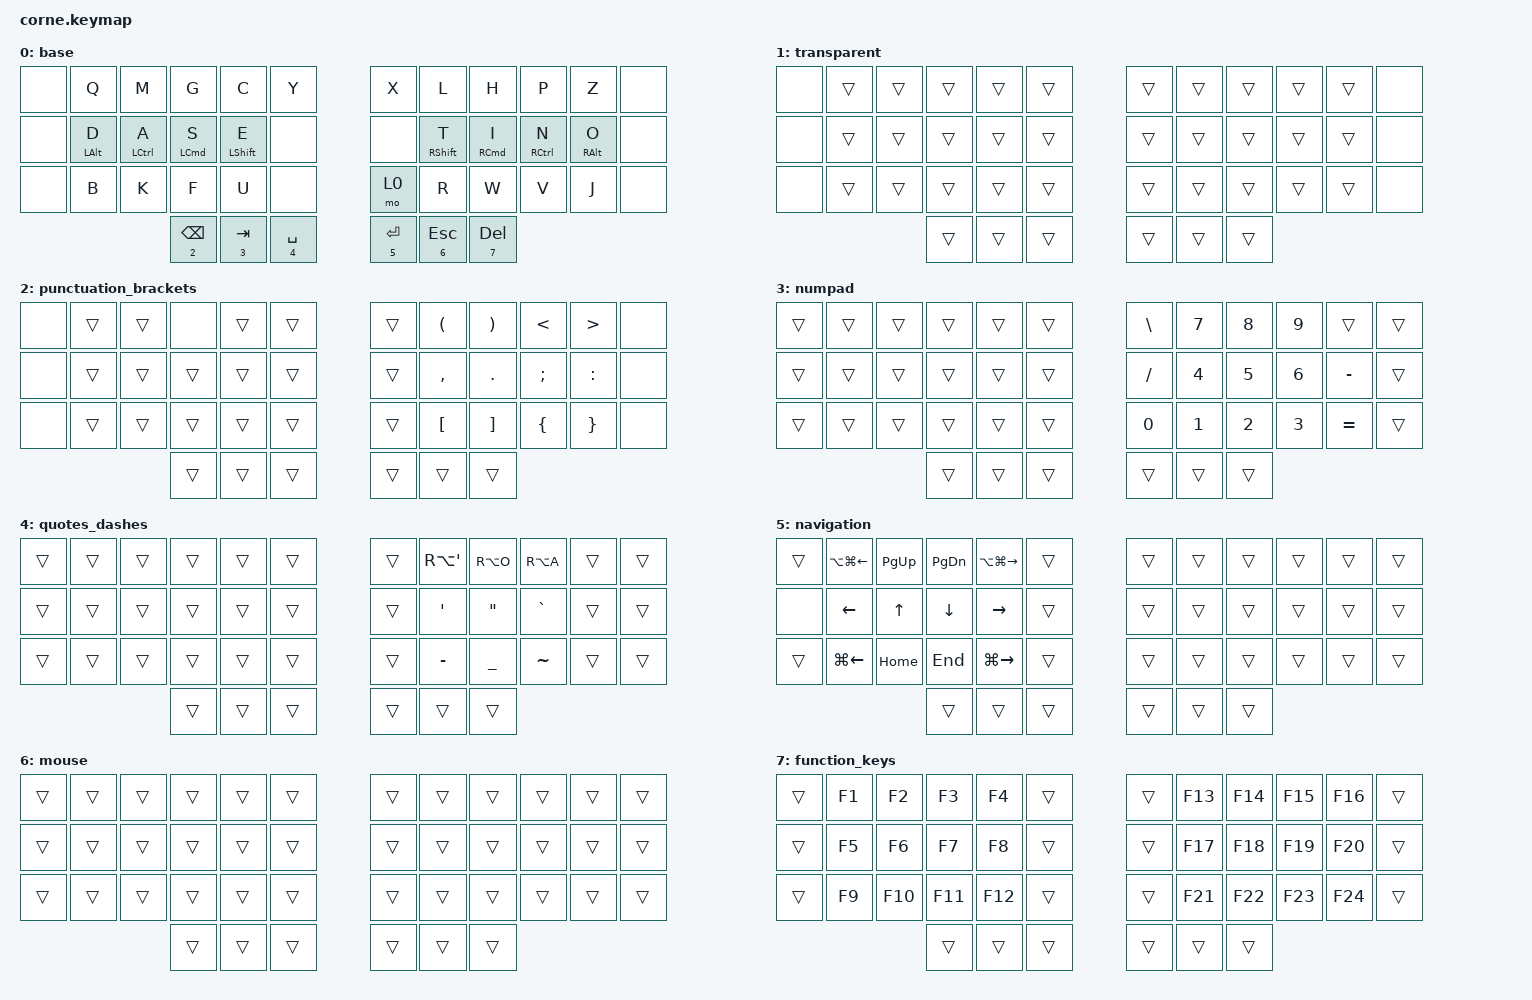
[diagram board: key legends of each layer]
/*
 * Copyright (c) 2020 The ZMK Contributors
 *
 * SPDX-License-Identifier: MIT
 */

#include <behaviors.dtsi>
#include <dt-bindings/zmk/keys.h>

/ {
    behaviors {
        lt_kp: lt_kp {
            compatible = "zmk,behavior-hold-tap";
            label = "LT_KP";
            bindings =
                <&lt>,
                <&kp>;

            #binding-cells = <2>;
            flavor = "balanced";
            tapping-term-ms = <200>;
        };
    };

    combos {
        compatible = "zmk,combos";

        new_combo {
            bindings = <&lt 1 0>;
            key-positions = <36 41>;
        };
    };

    keymap {
        compatible = "zmk,keymap";

        base {
            // -----------------------------------------------------------------------------------------
            // |  TAB |  Q  |  W  |  E  |  R  |  T  |   |  Y  |  U   |  I  |  O  |  P  | BKSP |
            // | CTRL |  A  |  S  |  D  |  F  |  G  |   |  H  |  J   |  K  |  L  |  ;  |  '   |
            // | SHFT |  Z  |  X  |  C  |  V  |  B  |   |  N  |  M   |  ,  |  .  |  /  | ESC  |
            //                    | GUI | LWR | SPC |   | ENT | RSE  | ALT |

            bindings = <
&none           &kp Q        &kp M               &kp G         &kp C           &kp Y             &kp X              &kp L                &kp H                &kp P            &kp Z  &none
&none  &mt LEFT_ALT D  &mt LCTRL A  &mt LEFT_COMMAND S  &mt LSHIFT E           &none             &none  &mt RIGHT_SHIFT T  &mt RIGHT_COMMAND I  &mt RIGHT_CONTROL N  &mt RIGHT_ALT O  &none
&none           &kp B        &kp K               &kp F         &kp U           &none             &mo 0              &kp R                &kp W                &kp V            &kp J  &none
                                    &lt_kp 2 BACKSPACE  &lt_kp 3 TAB  &lt_kp 4 SPACE    &lt_kp 5 ENTER    &lt_kp 6 ESCAPE      &lt_kp 7 DELETE
            >;
        };

        transparent {
            // -----------------------------------------------------------------------------------------
            // |  TAB |  1  |  2  |  3  |  4  |  5  |   |  6  |  7  |  8  |  9  |  0  | BKSP |
            // | BTCLR| BT1 | BT2 | BT3 | BT4 | BT5 |   | LFT | DWN |  UP | RGT |     |      |
            // | SHFT |     |     |     |     |     |   |     |     |     |     |     |      |
            //                    | GUI |     | SPC |   | ENT |     | ALT |

            bindings = <
&none  &trans  &trans  &trans  &trans  &trans    &trans  &trans  &trans  &trans  &trans  &none
&none  &trans  &trans  &trans  &trans  &trans    &trans  &trans  &trans  &trans  &trans  &none
&none  &trans  &trans  &trans  &trans  &trans    &trans  &trans  &trans  &trans  &trans  &none
                       &trans  &trans  &trans    &trans  &trans  &trans
            >;
        };

        punctuation_brackets {
            // -----------------------------------------------------------------------------------------
            // |  TAB |  !  |  @  |  #  |  $  |  %  |   |  ^  |  &  |  *  |  (  |  )  | BKSP |
            // | CTRL |     |     |     |     |     |   |  -  |  =  |  [  |  ]  |  \  |  `   |
            // | SHFT |     |     |     |     |     |   |  _  |  +  |  {  |  }  | "|" |  ~   |
            //                    | GUI |     | SPC |   | ENT |     | ALT |

            bindings = <
&none  &trans  &trans   &none  &trans  &trans    &trans  &kp LEFT_PARENTHESIS  &kp RIGHT_PARENTHESIS   &kp LESS_THAN  &kp GREATER_THAN  &none
&none  &trans  &trans  &trans  &trans  &trans    &trans             &kp COMMA                &kp DOT        &kp SEMI         &kp COLON  &none
&none  &trans  &trans  &trans  &trans  &trans    &trans      &kp LEFT_BRACKET      &kp RIGHT_BRACKET  &kp LEFT_BRACE   &kp RIGHT_BRACE  &none
                       &trans  &trans  &trans    &trans                &trans                 &trans
            >;
        };

        numpad {
            bindings = <
&trans  &trans  &trans  &trans  &trans  &trans    &kp BSLH  &kp N7  &kp N8  &kp N9     &trans  &trans
&trans  &trans  &trans  &trans  &trans  &trans    &kp FSLH  &kp N4  &kp N5  &kp N6  &kp MINUS  &trans
&trans  &trans  &trans  &trans  &trans  &trans      &kp N0  &kp N1  &kp N2  &kp N3  &kp EQUAL  &trans
                        &trans  &trans  &trans      &trans  &trans  &trans
            >;
        };

        quotes_dashes {
            bindings = <
&trans  &trans  &trans  &trans  &trans  &trans    &trans  &kp RA(SINGLE_QUOTE)          &kp RA(O)  &kp RA(A)  &trans  &trans
&trans  &trans  &trans  &trans  &trans  &trans    &trans               &kp SQT  &kp DOUBLE_QUOTES  &kp GRAVE  &trans  &trans
&trans  &trans  &trans  &trans  &trans  &trans    &trans             &kp MINUS     &kp UNDERSCORE  &kp TILDE  &trans  &trans
                        &trans  &trans  &trans    &trans                &trans             &trans
            >;
        };

        navigation {
            bindings = <
&trans  &kp LA(LG(LEFT_ARROW))     &kp PG_UP  &kp PG_DN  &kp LA(LG(RIGHT))  &trans    &trans  &trans  &trans  &trans  &trans  &trans
 &none          &kp LEFT_ARROW  &kp UP_ARROW   &kp DOWN          &kp RIGHT  &trans    &trans  &trans  &trans  &trans  &trans  &trans
&trans            &kp LG(LEFT)      &kp HOME    &kp END      &kp LG(RIGHT)  &trans    &trans  &trans  &trans  &trans  &trans  &trans
                                                 &trans             &trans  &trans    &trans  &trans  &trans
            >;
        };

        mouse {
            bindings = <
&trans  &trans  &trans  &trans  &trans  &trans    &trans  &trans  &trans  &trans  &trans  &trans
&trans  &trans  &trans  &trans  &trans  &trans    &trans  &trans  &trans  &trans  &trans  &trans
&trans  &trans  &trans  &trans  &trans  &trans    &trans  &trans  &trans  &trans  &trans  &trans
                        &trans  &trans  &trans    &trans  &trans  &trans
            >;
        };

        function_keys {
            bindings = <
&trans  &kp F1   &kp F2   &kp F3   &kp F4  &trans    &trans  &kp F13  &kp F14  &kp F15  &kp F16  &trans
&trans  &kp F5   &kp F6   &kp F7   &kp F8  &trans    &trans  &kp F17  &kp F18  &kp F19  &kp F20  &trans
&trans  &kp F9  &kp F10  &kp F11  &kp F12  &trans    &trans  &kp F21  &kp F22  &kp F23  &kp F24  &trans
                          &trans   &trans  &trans    &trans   &trans   &trans
            >;
        };
    };
};
